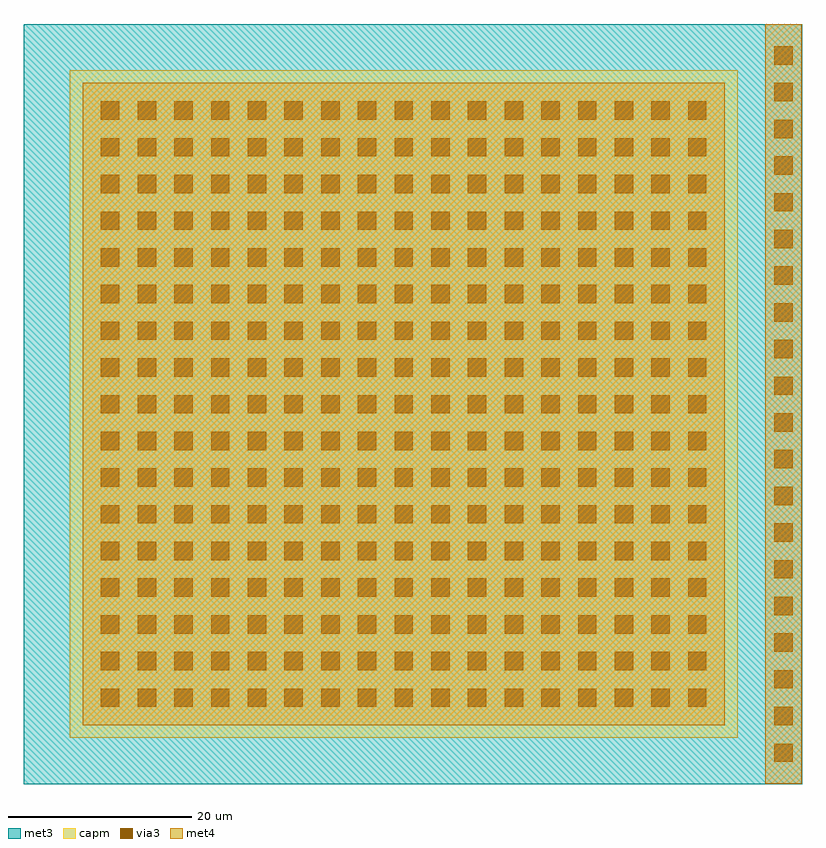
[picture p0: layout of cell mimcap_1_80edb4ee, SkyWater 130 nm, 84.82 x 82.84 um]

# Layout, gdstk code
import gdstk
lib = gdstk.Library(unit=1e-6, precision=1e-09)
def R(c, l, rs):  # rectangles x0, y0, x1, y1
    for r in rs: c.add(gdstk.rectangle(r[:2], r[2:], *l))
met3 = (70, 20)
via3 = (70, 44)
met4 = (71, 20)
capm = (89, 44)

compass_8a0525c5 = lib.new_cell('compass_8a0525c5')
R(compass_8a0525c5, met3, [(-42.41,-41.42,42.41,41.42)])

rectangle_8a0525c5 = lib.new_cell('rectangle_8a0525c5')
rectangle_8a0525c5.add(gdstk.Reference(compass_8a0525c5, (42.41,41.42)))

compass_3a034d8b = lib.new_cell('compass_3a034d8b')
R(compass_3a034d8b, met4, [(-2,-41.4,2,41.4)])

rectangle_3a034d8b = lib.new_cell('rectangle_3a034d8b')
rectangle_3a034d8b.add(gdstk.Reference(compass_3a034d8b, (2,41.4)))

compass_layer71__20_size = lib.new_cell('compass_layer71__20_size70__70')
R(compass_layer71__20_size, met4, [(-35,-35,35,35)])

rectangle_layer71__20_si = lib.new_cell('rectangle_layer71__20_size70__70')
rectangle_layer71__20_si.add(gdstk.Reference(compass_layer71__20_size, (35,35)))

compass_154fee82 = lib.new_cell('compass_154fee82')
R(compass_154fee82, capm, [(-36.4,-36.4,36.4,36.4)])

rectangle_154fee82 = lib.new_cell('rectangle_154fee82')
rectangle_154fee82.add(gdstk.Reference(compass_154fee82, (36.4,36.4)))

compass_layer70__44_size = lib.new_cell('compass_layer70__44_size2__2')
R(compass_layer70__44_size, via3, [(-1,-1,1,1)])

rectangle_layer70__44_si = lib.new_cell('rectangle_layer70__44_size2__2')
rectangle_layer70__44_si.add(gdstk.Reference(compass_layer70__44_size, (1,1)))

mimcap_1_80edb4ee = lib.new_cell('mimcap_1_80edb4ee')
mimcap_1_80edb4ee.add(gdstk.Reference(rectangle_8a0525c5, (0,0)))
mimcap_1_80edb4ee.add(gdstk.Reference(rectangle_3a034d8b, (80.81,0.02)))
mimcap_1_80edb4ee.add(gdstk.Reference(rectangle_layer71__20_si, (6.41,6.42)))
mimcap_1_80edb4ee.add(gdstk.Reference(rectangle_154fee82, (5.01,5.02)))
r = gdstk.Reference(rectangle_layer70__44_si, (8.4,8.4)); r.repetition = gdstk.Repetition(17, 17, v1=(4,0), v2=(0,4)); mimcap_1_80edb4ee.add(r)
r = gdstk.Reference(rectangle_layer70__44_si, (81.81,2.41)); r.repetition = gdstk.Repetition(1, 20, v1=(4,0), v2=(0,4)); mimcap_1_80edb4ee.add(r)

lib.write_gds('mimcap_1_80edb4ee.gds')
